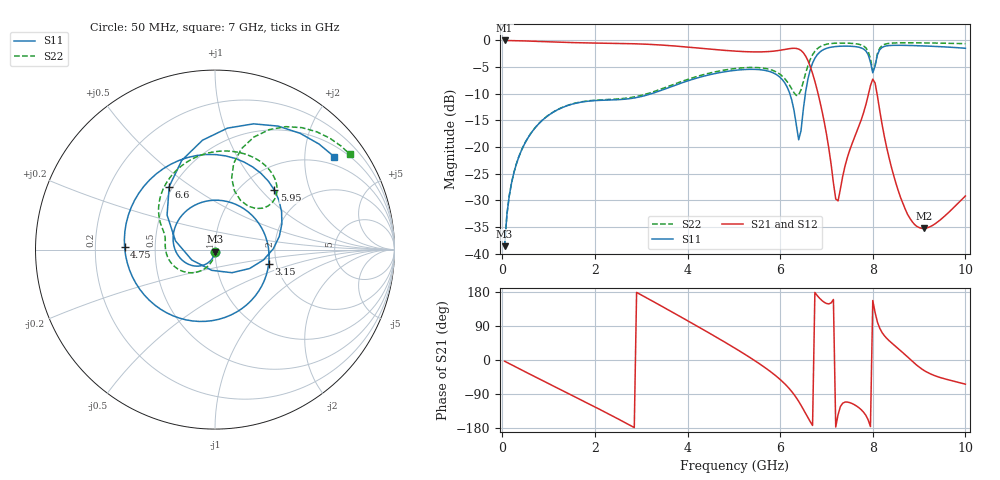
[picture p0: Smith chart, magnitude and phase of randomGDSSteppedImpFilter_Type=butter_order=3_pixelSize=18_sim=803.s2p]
! freq	dB(S11)	phase(S11)	dB(S12)	phase(S12)
!  dB(S21)	phase(S21)	dB(S22)	phase(S22)
!S-par simulation data
#  GHz  S  DB  R 50
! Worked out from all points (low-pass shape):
!   200 points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, 50 MHz to 10 GHz, reference 50 ohm
!   highest |S21| = -0.01 dB at 50 MHz (marker M1); lowest = -35.3 dB at 9.1 GHz (marker M2)
!   |S21| within 3 dB of the highest: start of sweep to 6.554 GHz
!   lowest |S11| = -38.6 dB at 50 MHz (marker M3), VSWR 1.02, Z = 49.9 - j1.17 ohm
!   |S11| at or under -10 dB: start of sweep to 3.218 GHz; 6.209 GHz to 6.545 GHz (336.1 MHz wide, 5.27 % of centre)
!   |S22| runs from -38.6 to -0.4 dB; largest |S21 - S12| = 0
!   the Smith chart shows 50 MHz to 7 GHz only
!   S11 on the Smith chart (normalised r, x): 50 MHz: 1.00, -0.02; 3.15 GHz: 1.81, -0.33; 4.75 GHz: 0.33, +0.01; 5.95 GHz: 1.40, +1.19; 6.6 GHz: 0.48, +0.41; 7 GHz: 0.77, +2.73
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0.05  -38.60 -92.9  -0.01 -3.2  -0.01 -3.2  -38.56 -91.6
0.2  -26.73 -104.9  -0.03 -12.7  -0.03 -12.7  -26.70 -100.2
0.5  -19.09 -127.7  -0.10 -31.4  -0.10 -31.4  -19.07 -115.9
1.75  -11.51 133.3  -0.46 -108.4  -0.46 -108.4  -11.46 -171.1
2.5  -11.12 59.6  -0.56 -155.5  -0.56 -155.5  -10.98 168.6
3.15  -10.18 -15.2  -0.73 161.7  -0.73 161.7  -9.95 157.8
3.4  -9.47 -43.8  -0.85 144.8  -0.85 144.8  -9.21 152.5
4.05  -7.46 -112.6  -1.29 100.3  -1.29 100.3  -7.17 132.2
4.75  -5.95 178.5  -1.83 51.1  -1.83 51.1  -5.63 103.1
5.05  -5.59 148.5  -2.02 29.2  -2.02 29.2  -5.25 89.4
5.95  -6.59 45.1  -1.91 -46.1  -1.91 -46.1  -6.08 46.1
6.4  -18.64 -98.6  -1.63 -109.2  -1.63 -109.2  -10.21 62.5
6.6  -7.25 126.0  -3.79 -152.1  -3.79 -152.1  -4.73 75.3
6.7  -4.24 96.5  -6.19 -172.7  -6.19 -172.7  -2.69 65.6
7  -1.49 37.8  -17.55 149.2  -17.55 149.2  -0.72 35.2
7.25  -1.11 6.6  -30.10 -144.4  -30.10 -144.4  -0.50 16.9
7.8  -1.61 -46.8  -13.59 -137.6  -13.59 -137.6  -1.04 -18.3
8  -6.07 -53.1  -7.27 157.0  -7.27 157.0  -5.70 -22.1
8.1  -2.69 -38.0  -10.39 100.2  -10.39 100.2  -2.48 -1.5
8.35  -0.97 -64.8  -21.94 51.3  -21.94 51.3  -0.55 -22.5
9.1  -1.03 -111.5  -35.28 -27.1  -35.28 -27.1  -0.46 -53.7
10  -1.47 -163.8  -29.18 -63.8  -29.18 -63.8  -0.61 -82.0
